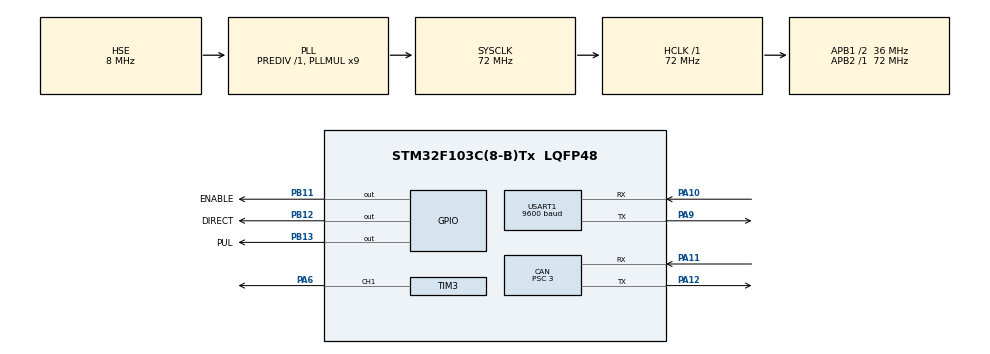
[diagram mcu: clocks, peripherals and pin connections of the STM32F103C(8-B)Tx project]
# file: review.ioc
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CAN.ABOM=ENABLE
CAN.BS1=CAN_BS1_10TQ
CAN.CalculateBaudRate=999999
CAN.CalculateTimeBit=1000
CAN.CalculateTimeQuantum=83.33333333333334
CAN.Prescaler=3
Dma.Request0=USART1_RX
Dma.Request1=USART1_TX
Dma.USART1_RX.0.Direction=DMA_PERIPH_TO_MEMORY
Dma.USART1_RX.0.Instance=DMA1_Channel5
Dma.USART1_RX.0.MemDataAlignment=DMA_MDATAALIGN_BYTE
Dma.USART1_RX.0.MemInc=DMA_MINC_ENABLE
Dma.USART1_RX.0.Mode=DMA_NORMAL
Dma.USART1_RX.0.PeriphDataAlignment=DMA_PDATAALIGN_BYTE
Dma.USART1_RX.0.PeriphInc=DMA_PINC_DISABLE
Dma.USART1_RX.0.Priority=DMA_PRIORITY_LOW
Dma.USART1_TX.1.Direction=DMA_MEMORY_TO_PERIPH
Dma.USART1_TX.1.Instance=DMA1_Channel4
Dma.USART1_TX.1.MemDataAlignment=DMA_MDATAALIGN_BYTE
Dma.USART1_TX.1.MemInc=DMA_MINC_ENABLE
Dma.USART1_TX.1.Mode=DMA_NORMAL
Dma.USART1_TX.1.PeriphDataAlignment=DMA_PDATAALIGN_BYTE
Dma.USART1_TX.1.PeriphInc=DMA_PINC_DISABLE
Dma.USART1_TX.1.Priority=DMA_PRIORITY_LOW
Mcu.Family=STM32F1
Mcu.Name=STM32F103C(8-B)Tx
Mcu.Package=LQFP48
NVIC.DMA1_Channel4_IRQn=true\:0\:0\:false\:false\:true\:false\:true\:true
NVIC.DMA1_Channel5_IRQn=true\:0\:0\:false\:false\:true\:false\:true\:true
NVIC.PriorityGroup=NVIC_PRIORITYGROUP_4
NVIC.TIM2_IRQn=true\:0\:0\:false\:false\:true\:true\:true\:true
NVIC.USART1_IRQn=true\:0\:0\:false\:false\:true\:true\:true\:true
NVIC.USB_LP_CAN1_RX0_IRQn=true\:0\:0\:false\:false\:true\:true\:true\:true
PA10.Mode=Asynchronous
PA10.Signal=USART1_RX
PA11.Mode=CAN_Activate
PA11.Signal=CAN_RX
PA12.Mode=CAN_Activate
PA12.Signal=CAN_TX
PA13.Mode=Serial_Wire
PA13.Signal=SYS_JTMS-SWDIO
PA14.Mode=Serial_Wire
PA14.Signal=SYS_JTCK-SWCLK
PA6.Signal=S_TIM3_CH1
PA9.GPIO_Speed=GPIO_SPEED_FREQ_MEDIUM
PA9.Mode=Asynchronous
PA9.Signal=USART1_TX
PB11.GPIO_Label=ENABLE
PB11.Signal=GPIO_Output
PB12.GPIO_Label=DIRECT
PB12.Signal=GPIO_Output
PB13.GPIO_Label=PUL
PB13.Signal=GPIO_Output
PD0-OSC_IN.Mode=HSE-External-Oscillator
PD0-OSC_IN.Signal=RCC_OSC_IN
PD1-OSC_OUT.Mode=HSE-External-Oscillator
PD1-OSC_OUT.Signal=RCC_OSC_OUT
ProjectManager.HeapSize=0x200
ProjectManager.StackSize=0x400
ProjectManager.TargetToolchain=MDK-ARM V5.32
RCC.AHBFreq_Value=72000000
RCC.APB1CLKDivider=RCC_HCLK_DIV2
RCC.APB1Freq_Value=36000000
RCC.APB1TimFreq_Value=72000000
RCC.APB2Freq_Value=72000000
RCC.APB2TimFreq_Value=72000000
RCC.HCLKFreq_Value=72000000
RCC.PLLMUL=RCC_PLL_MUL9
RCC.PLLSourceVirtual=RCC_PLLSOURCE_HSE
RCC.SYSCLKFreq_VALUE=72000000
RCC.SYSCLKSource=RCC_SYSCLKSOURCE_PLLCLK
RCC.USBFreq_Value=72000000
SH.S_TIM3_CH1.0=TIM3_CH1,PWM Generation1 CH1
TIM1.Prescaler=71
TIM2.Period=20-1
TIM2.Prescaler=7200-1
TIM3.Channel-PWM\ Generation1\ CH1=TIM_CHANNEL_1
TIM3.Period=20000-1
TIM3.Prescaler=72-1
USART1.BaudRate=9600
USART1.StopBits=STOPBITS_2
USART1.VirtualMode=VM_ASYNC
VP_TIM1_VS_ClockSourceINT.Mode=Internal
VP_TIM2_VS_ClockSourceINT.Mode=Internal
VP_TIM3_VS_ClockSourceINT.Mode=Internal
board=custom

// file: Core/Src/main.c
/* USER CODE BEGIN Header */
/**
  ******************************************************************************
  * @file           : main.c
  * @brief          : Main program body
  ******************************************************************************
  * @attention
  *
  * Copyright (c) 2025 STMicroelectronics.
  * All rights reserved.
  *
  * This software is licensed under terms that can be found in the LICENSE file
  * in the root directory of this software component.
  * If no LICENSE file comes with this software, it is provided AS-IS.
  *
  ******************************************************************************
  */
/* USER CODE END Header */
#include "main.h"
#include "can.h"
#include "dma.h"
#include "tim.h"
#include "usart.h"
#include "gpio.h"

/* USER CODE BEGIN Includes */
#include "stdlib.h"
#include "string.h"
#include "ctype.h"
#include "math.h"

#include "Delay_us.h"
#include "cybergear.h"
#include "CyberGear_Control.h"
#include "Stepper_and_Gripper.h"

#ifndef PI
#define PI 3.14159265358979323846264f
#endif

/* USER CODE END Includes */

/* USER CODE BEGIN PTD */
// 定义一个结构体来封装指令，包含指令类型和关联的数值
typedef struct {
    uint8_t type;   // 指令类型, 如 'f', 'g', 'p'
    double  value;  // 指令关联的数值
} Command_t;
/* USER CODE END PTD */

/* USER CODE BEGIN PV */
// --- 用于串口指令通信的全局变量 ---
volatile uint8_t receive_flag = '0'; // volatile关键字防止编译器过度优化
double ref = 0.0;                    // 用于存储指令附带的数值
const uint8_t ack = 0xAA;       // 向主控的反馈信息

// --- UART DMA接收相关 ---
// 建议将接收缓冲区大小宏定义，方便管理
#define RX_BUFFER_SIZE 10
uint8_t receiveData[RX_BUFFER_SIZE];

/* USER CODE END PV */

void SystemClock_Config(void);

int main(void)
{

  /* MCU Configuration--------------------------------------------------------*/

  /* Reset of all peripherals, Initializes the Flash interface and the Systick. */
  HAL_Init();

  /* Configure the system clock */
  SystemClock_Config();

  /* Initialize all configured peripherals */
  MX_GPIO_Init();
  MX_DMA_Init();
  MX_TIM1_Init();
  MX_TIM2_Init();
  MX_USART1_UART_Init();
  MX_CAN_Init();
  MX_TIM3_Init();
  /* USER CODE BEGIN 2 */

    /**************************************************************************
    * CAN总线初始化
    **************************************************************************/
    // CAN过滤器配置，此处配置为接收所有ID的报文
    CAN_FilterTypeDef can_filter_st;
    can_filter_st.FilterActivation = ENABLE;
    can_filter_st.FilterMode = CAN_FILTERMODE_IDMASK;
    can_filter_st.FilterScale = CAN_FILTERSCALE_32BIT;
    can_filter_st.FilterIdHigh = 0x0000;
    can_filter_st.FilterIdLow = 0x0000;
    can_filter_st.FilterMaskIdHigh = 0x0000;
    can_filter_st.FilterMaskIdLow = 0x0000;
    can_filter_st.FilterBank = 0;
    can_filter_st.FilterFIFOAssignment = CAN_RX_FIFO0;
    can_filter_st.SlaveStartFilterBank = 14;
    HAL_CAN_ConfigFilter(&hcan, &can_filter_st); // 应用过滤器配置
    HAL_CAN_Start(&hcan); // 启动CAN总线
    HAL_CAN_ActivateNotification(&hcan, CAN_IT_RX_FIFO0_MSG_PENDING); // 使能CAN接收FIFO0消息挂起中断

    /**************************************************************************
    * 定时器初始化
    **************************************************************************/
    // 启动定时器2，用于微秒级延时函数的基准
    HAL_TIM_Base_Start_IT(&htim2);

    // 启动定时器1和定时器3的基础功能
    HAL_TIM_Base_Start(&htim1); // 注意：此处原为HAL_TIM_Base_Init，Start更符合常规用法
    HAL_TIM_Base_Start(&htim3); // 注意：此处原为HAL_TIM_Base_Init，Start更符合常规用法

    // 启动定时器3的PWM功能，用于控制夹爪舵机
    HAL_TIM_PWM_Start(&htim3, TIM_CHANNEL_1);

    /**************************************************************************
    * CyberGear舵机 (旋转关节) 初始化
    **************************************************************************/
    HAL_Delay(2000); // 等待外设稳定

    // 初始化小米CyberGear舵机，使用0x7F作为CAN ID，并设置为位置模式
    //init_cybergear(&mi_motor[0], 0x7F, Position_mode);
    // 下行为运控模式的初始化，可按需切换
    init_cybergear(&mi_motor[MOTOR_ID_ROTATION], ROTATION_MOTOR_ID, Motion_mode);
    HAL_Delay(10); // 短暂延时以确保设置生效
		init_cybergear(&mi_motor[MOTOR_ID_LIFT], LIFT_MOTOR_ID, Position_mode);
    HAL_Delay(10); // 短暂延时以确保设置生效

    // 将电机当前位置设置为机械零点
    set_zeropos_cybergear(&mi_motor[MOTOR_ID_ROTATION]);
	  set_zeropos_cybergear(&mi_motor[MOTOR_ID_LIFT]);
    HAL_Delay(10); // 短暂延时以确保设置生效

    /**************************************************************************
    * 步进电机 (升降关节) 初始化
    **************************************************************************/
    // 使能步进电机驱动器（通常为低电平有效）
//    HAL_GPIO_WritePin(GPIOB, ENABLE_Pin, GPIO_PIN_RESET);

    /**************************************************************************
    * UART串口初始化
    **************************************************************************/
    // 启动UART1的DMA空闲中断接收，用于接收指令
    HAL_UARTEx_ReceiveToIdle_DMA(&huart1, receiveData, 10);
    // 关闭DMA的半传输中断，只在接收完成或空闲时触发一次完整中断
    __HAL_DMA_DISABLE_IT(&hdma_usart1_rx, DMA_IT_HT);

    /**************************************************************************
    * 设备上电后状态设定
    **************************************************************************/
    // 重复发送保持零点指令，确保电机在上电后稳定在零位
    motor_controlmode(&mi_motor[MOTOR_ID_ROTATION], 0, 0, 0, 10.0, 4.5);
		set_position_target_and_speed(&mi_motor[MOTOR_ID_LIFT], 0, 180);
    HAL_Delay(5);
    motor_controlmode(&mi_motor[MOTOR_ID_ROTATION], 0, 0, 0, 10.0, 4.5);
		set_position_target_and_speed(&mi_motor[MOTOR_ID_LIFT], 0, 180);

    // 设置夹爪舵机初始状态为“闭合”
    __HAL_TIM_SetCompare(&htim3, TIM_CHANNEL_1, GRIPPER_CLOSE_PWM);

  /* USER CODE END 2 */

  /* Infinite loop */
  /* USER CODE BEGIN WHILE */
  while (1)
	{
    // 检查是否有新指令需要处理
    if (receive_flag != '0')
    {
        // 使用 switch 结构处理指令
        switch (receive_flag)
        {
            case 's':
                // 调用步进电机的某个动作，例如复位或回到预设点
                // bujin(1, 45, 0);
								Lift_MoveTo_cm(LIFT_MAX_HEIGHT_CM,0);
                break;

            case 'g':
                // 执行“取物”动作，使用全局变量 ref 作为参数
                get(ref);
                break;

            case 'p':
                // 执行“放置”动作，使用全局变量 ref 作为参数
                place(ref);
                break;

            case 'n': // 带载移动
                Move_and_Hold_Hybrid(&mi_motor[0], ref, GAIN_SET_LOADED);
//								MiAngleControl_MultiStage_V3(
//										&mi_motor[0],
//										ref,      // 1. 目标角度
//										GAIN_SET_LOADED,             // 2. 传入的增益档案 (GAIN_SET_LOADED 或 GAIN_SET_UNLOADED)
//										1,                   // 3. 启用超时
//										2800,                // 4. 超时时间
//										1.5f,                // 5. 位置容忍度1.5度
//										3.0f                 // 6. 速度容忍度3.0度/秒
//								);
									CyberGear_SetLastAngle(MOTOR_ID_ROTATION, ref);
                break;

            case 'f': // 空载移动
                Move_and_Hold_Hybrid(&mi_motor[0], ref, GAIN_SET_UNLOADED);
//								MiAngleControl_MultiStage_V3(
//										&mi_motor[0],
//										ref,      // 1. 目标角度
//										GAIN_SET_UNLOADED,             // 2. 传入的增益档案 (GAIN_SET_LOADED 或 GAIN_SET_UNLOADED)
//										1,                   // 3. 启用超时
//										1400,                // 4. 超时时间2.8秒
//										1.5f,                // 5. 位置容忍度1.5度
//										3.0f                 // 6. 速度容忍度3.0度/秒
//								);
									CyberGear_SetLastAngle(MOTOR_ID_ROTATION, ref);
                break;

            default:
                // 收到未知指令，不进行任何操作
                break;
        }

        // 发送统一的确认回执
        while(HAL_UART_Transmit(&huart1, (uint8_t*)&ack, 1, HAL_MAX_DELAY) != HAL_OK);

        // 在处理完一个指令后，立即将标志位清零，准备接收下一条指令
        receive_flag = '0';
    }

    /* USER CODE END WHILE */

  }
}

void SystemClock_Config(void)
{
  RCC_OscInitTypeDef RCC_OscInitStruct = {0};
  RCC_ClkInitTypeDef RCC_ClkInitStruct = {0};

  /** Initializes the RCC Oscillators according to the specified parameters
  * in the RCC_OscInitTypeDef structure.
  */
  RCC_OscInitStruct.OscillatorType = RCC_OSCILLATORTYPE_HSE;
  RCC_OscInitStruct.HSEState = RCC_HSE_ON;
  RCC_OscInitStruct.HSEPredivValue = RCC_HSE_PREDIV_DIV1;
  RCC_OscInitStruct.HSIState = RCC_HSI_ON;
  RCC_OscInitStruct.PLL.PLLState = RCC_PLL_ON;
  RCC_OscInitStruct.PLL.PLLSource = RCC_PLLSOURCE_HSE;
  RCC_OscInitStruct.PLL.PLLMUL = RCC_PLL_MUL9;
  if (HAL_RCC_OscConfig(&RCC_OscInitStruct) != HAL_OK)
  {
    Error_Handler();
  }

  /** Initializes the CPU, AHB and APB buses clocks
  */
  RCC_ClkInitStruct.ClockType = RCC_CLOCKTYPE_HCLK|RCC_CLOCKTYPE_SYSCLK
                              |RCC_CLOCKTYPE_PCLK1|RCC_CLOCKTYPE_PCLK2;
  RCC_ClkInitStruct.SYSCLKSource = RCC_SYSCLKSOURCE_PLLCLK;
  RCC_ClkInitStruct.AHBCLKDivider = RCC_SYSCLK_DIV1;
  RCC_ClkInitStruct.APB1CLKDivider = RCC_HCLK_DIV2;
  RCC_ClkInitStruct.APB2CLKDivider = RCC_HCLK_DIV1;

  if (HAL_RCC_ClockConfig(&RCC_ClkInitStruct, FLASH_LATENCY_2) != HAL_OK)
  {
    Error_Handler();
  }
}

/* USER CODE BEGIN 4 */
/**
  * @brief  USART1空闲中断回调函数，用于处理上位机指令
  * @param  huart: UART句柄指针
  * @param  Size: 本次接收到的数据长度
  * @retval None
  */
void HAL_UARTEx_RxEventCallback(UART_HandleTypeDef* huart, uint16_t Size)
{
    // 确保中断来自于我们用于指令通信的USART1
    if (huart->Instance == USART1)
    {
        // 1. 安全处理：在数据末尾添加字符串结束符'\0'
        if (Size < RX_BUFFER_SIZE)
        {
            receiveData[Size] = '\0';
        }
        else
        {
            receiveData[9] = '\0'; // 强制在最后一位添加结束符
        }

        // 2. 解析指令
        char command = receiveData[0]; // 第一个字节是指令类型

        if (command == 's') // 对于不带参数的 's' 指令
        {
            receive_flag = 's';
        }
        else if (command == 'g' || command == 'p' || command == 'f' || command == 'n') // 对于需要参数的指令
        {
            if (Size > 1) // 确保有参数
            {
                ref = atof((const char *)&receiveData[1]); // 解析数值
                receive_flag = command; // 设置标志位
            }
        }
        // 未知指令将被忽略

        // 3. 重新启动DMA空闲中断接收
        HAL_UARTEx_ReceiveToIdle_DMA(&huart1, receiveData, RX_BUFFER_SIZE);
        __HAL_DMA_DISABLE_IT(&hdma_usart1_rx, DMA_IT_HT);
    }
}

void HAL_UART_ErrorCallback(UART_HandleTypeDef *huart)
{
    if (huart == &huart1)
    {
        uint32_t err = huart->ErrorCode;

        // 清除所有接收相关错误标志
        if (err & HAL_UART_ERROR_ORE) __HAL_UART_CLEAR_OREFLAG(huart);
        if (err & HAL_UART_ERROR_FE)  __HAL_UART_CLEAR_FEFLAG(huart);
        if (err & HAL_UART_ERROR_PE)  __HAL_UART_CLEAR_PEFLAG(huart);
        if (err & HAL_UART_ERROR_NE)  __HAL_UART_CLEAR_NEFLAG(huart);

        // 重启接收
        HAL_UART_DMAStop(huart);
        HAL_UARTEx_ReceiveToIdle_DMA(&huart1, receiveData, RX_BUFFER_SIZE);
        __HAL_DMA_DISABLE_IT(&hdma_usart1_rx, DMA_IT_HT);
    }
}

/* USER CODE END 4 */

void Error_Handler(void)
{
  __disable_irq();
  while (1)
  {
  }
}
